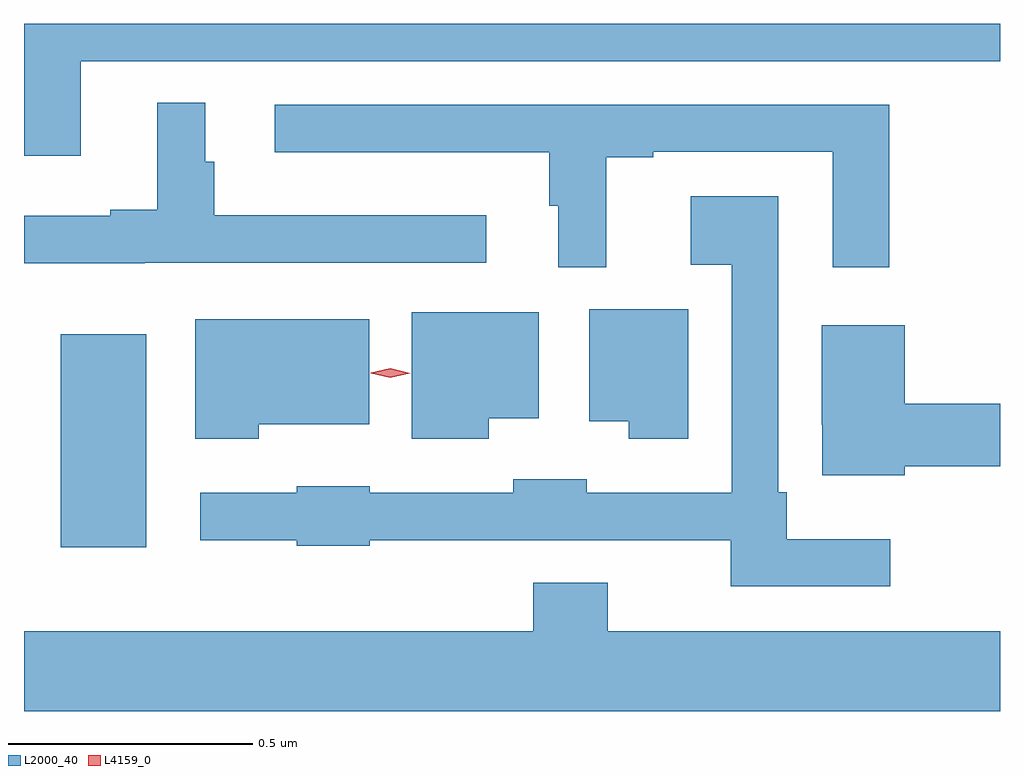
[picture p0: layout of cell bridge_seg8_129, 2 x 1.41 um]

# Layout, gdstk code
import gdstk
lib = gdstk.Library(unit=1e-6, precision=1e-09)
def R(c, l, rs):  # rectangles x0, y0, x1, y1
    for r in rs: c.add(gdstk.rectangle(r[:2], r[2:], *l))
def P(c, l, *ps):  # polygons
    for p in ps: c.add(gdstk.Polygon(p, *l))
L2000_40 = (2000, 40)
L4159_0 = (4159, 0)

bridge_seg8_129 = lib.new_cell('bridge_seg8_129')
R(bridge_seg8_129, L2000_40, [(853.952,1123.496,854.128,1123.933)])
P(bridge_seg8_129, L2000_40, [(853.993,1124.492),(855.877,1124.492),(855.877,1124.569),(853.877,1124.569),(853.877,1124.298),(853.993,1124.298)],
  [(854.124,1124.079),(854.824,1124.079),(854.824,1124.176),(854.267,1124.176),(854.267,1124.286),(854.248,1124.286),(854.248,1124.407),(854.15,1124.407),(854.15,1124.188),(854.054,1124.188),(854.054,1124.175),(853.877,1124.175),(853.877,1124.078),(854.124,1124.078)],
  [(855.07,1124.295),(855.166,1124.295),(855.166,1124.307),(855.534,1124.307),(855.534,1124.07),(855.65,1124.07),(855.65,1124.403),(854.391,1124.403),(854.391,1124.306),(854.953,1124.306),(854.953,1124.196),(854.972,1124.196),(854.972,1124.07),(855.07,1124.07)],
  [(855.652,1123.513),(855.44,1123.513),(855.44,1123.609),(855.423,1123.609),(855.423,1124.215),(855.243,1124.215),(855.243,1124.075),(855.327,1124.075),(855.327,1123.608),(855.03,1123.608),(855.03,1123.636),(854.88,1123.636),(854.88,1123.608),(854.586,1123.608),(854.586,1123.621),(854.436,1123.621),(854.436,1123.608),(854.238,1123.608),(854.238,1123.511),(854.436,1123.511),(854.436,1123.499),(854.586,1123.499),(854.586,1123.511),(855.325,1123.511),(855.325,1123.416),(855.652,1123.416)],
  [(855.238,1123.984),(855.035,1123.984),(855.035,1123.754),(855.116,1123.754),(855.116,1123.718),(855.238,1123.718)],
  [(854.829,1123.76),(854.932,1123.76),(854.932,1123.978),(854.672,1123.978),(854.672,1123.718),(854.829,1123.718)],
  [(854.358,1123.748),(854.584,1123.748),(854.584,1123.963),(854.228,1123.963),(854.228,1123.718),(854.358,1123.718)],
  [(855.682,1123.662),(855.877,1123.662),(855.877,1123.79),(855.682,1123.79),(855.682,1123.951),(855.512,1123.951),(855.512,1123.747),(855.513,1123.747),(855.513,1123.644),(855.682,1123.644)],
  [(855.877,1123.324),(855.073,1123.324),(855.073,1123.423),(854.921,1123.423),(854.921,1123.324),(853.877,1123.324),(853.877,1123.16),(855.877,1123.16)])
P(bridge_seg8_129, L4159_0, [(854.628,1123.843),(854.588,1123.853),(854.588,1123.854),(854.588,1123.854),(854.628,1123.863),(854.668,1123.853),(854.668,1123.853),(854.668,1123.853)])

lib.write_gds('bridge_seg8_129.gds')
